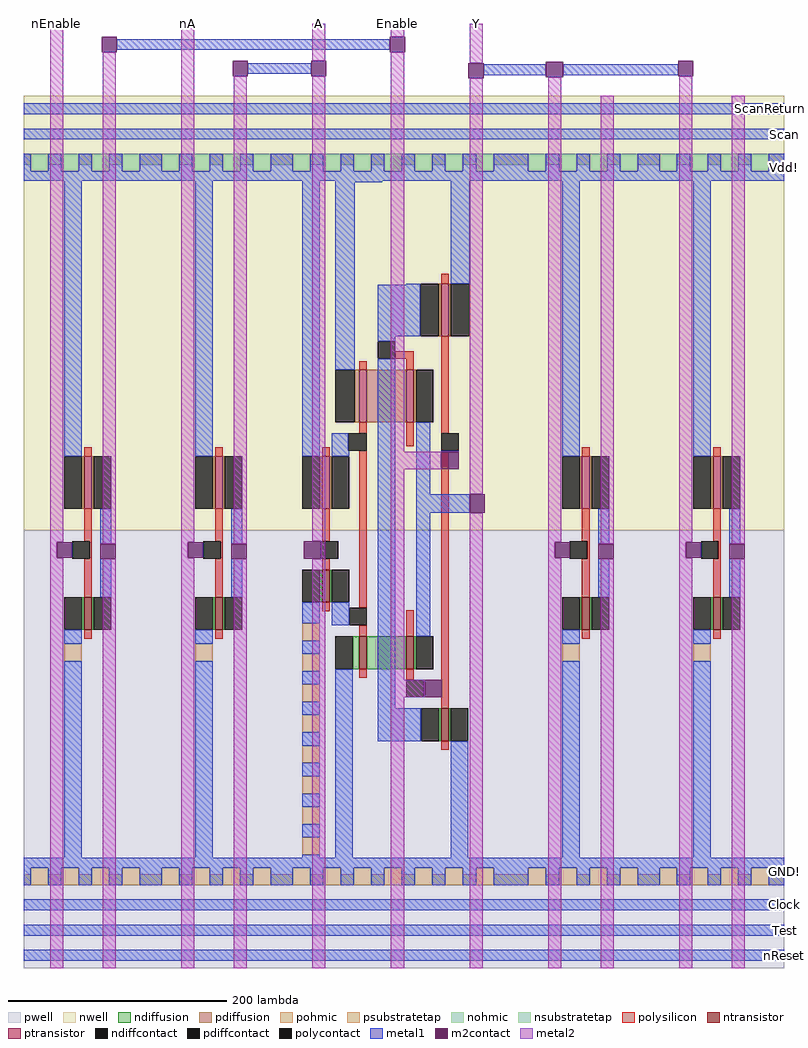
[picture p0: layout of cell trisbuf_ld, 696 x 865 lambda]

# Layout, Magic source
magic
tech c035u
<< nwell >>
rect 0 401 696 799
<< pwell >>
rect 0 0 696 401
<< polysilicon >>
rect 382 627 389 636
rect 340 558 357 565
rect 307 548 314 556
rect 350 548 357 558
rect 307 490 314 500
rect 55 469 62 477
rect 175 469 182 477
rect 273 469 280 477
rect 350 478 357 500
rect 382 490 389 579
rect 55 391 62 421
rect 175 391 182 421
rect 273 391 280 421
rect 60 375 62 391
rect 180 375 182 391
rect 55 340 62 375
rect 175 340 182 375
rect 273 365 280 375
rect 273 327 280 335
rect 307 330 314 474
rect 55 302 62 310
rect 175 302 182 310
rect 307 304 314 314
rect 350 304 357 328
rect 307 266 314 274
rect 350 264 357 274
rect 382 238 389 474
rect 511 469 518 477
rect 631 469 638 477
rect 511 391 518 421
rect 631 391 638 421
rect 516 375 518 391
rect 636 375 638 391
rect 511 340 518 375
rect 631 340 638 375
rect 511 302 518 310
rect 631 302 638 310
rect 382 200 389 208
<< ndiffusion >>
rect 53 310 55 340
rect 62 310 64 340
rect 173 310 175 340
rect 182 310 184 340
rect 271 335 273 365
rect 280 335 282 365
rect 301 274 307 304
rect 314 274 350 304
rect 357 274 359 304
rect 509 310 511 340
rect 518 310 520 340
rect 629 310 631 340
rect 638 310 640 340
rect 363 208 364 238
rect 380 208 382 238
rect 389 208 391 238
<< pdiffusion >>
rect 380 579 382 627
rect 389 579 391 627
rect 303 500 307 548
rect 314 500 350 548
rect 357 500 359 548
rect 53 421 55 469
rect 62 421 64 469
rect 173 421 175 469
rect 182 421 184 469
rect 271 421 273 469
rect 280 421 282 469
rect 509 421 511 469
rect 518 421 520 469
rect 629 421 631 469
rect 638 421 640 469
<< pohmic >>
rect 0 76 6 86
rect 22 76 34 86
rect 50 76 62 86
rect 78 76 90 86
rect 106 76 126 86
rect 142 76 154 86
rect 170 76 182 86
rect 198 76 210 86
rect 226 76 246 86
rect 262 76 274 86
rect 290 76 302 86
rect 318 76 330 86
rect 346 76 358 86
rect 374 76 386 86
rect 402 76 414 86
rect 430 76 462 86
rect 478 76 490 86
rect 506 76 518 86
rect 534 76 546 86
rect 562 76 582 86
rect 598 76 610 86
rect 626 76 638 86
rect 654 76 666 86
rect 682 76 696 86
<< nohmic >>
rect 0 736 6 746
rect 22 736 34 746
rect 50 736 62 746
rect 78 736 90 746
rect 106 736 126 746
rect 142 736 154 746
rect 170 736 182 746
rect 198 736 210 746
rect 226 736 246 746
rect 262 736 274 746
rect 290 736 302 746
rect 318 736 330 746
rect 346 736 358 746
rect 374 736 386 746
rect 402 736 414 746
rect 430 736 462 746
rect 478 736 490 746
rect 506 736 518 746
rect 534 736 546 746
rect 562 736 582 746
rect 598 736 610 746
rect 626 736 638 746
rect 654 736 666 746
rect 682 736 696 746
<< ntransistor >>
rect 55 310 62 340
rect 175 310 182 340
rect 273 335 280 365
rect 307 274 314 304
rect 350 274 357 304
rect 511 310 518 340
rect 631 310 638 340
rect 382 208 389 238
<< ptransistor >>
rect 382 579 389 627
rect 307 500 314 548
rect 350 500 357 548
rect 55 421 62 469
rect 175 421 182 469
rect 273 421 280 469
rect 511 421 518 469
rect 631 421 638 469
<< polycontact >>
rect 324 558 340 574
rect 297 474 314 490
rect 44 375 60 391
rect 164 375 180 391
rect 272 375 288 391
rect 298 314 314 330
rect 382 474 398 490
rect 350 248 366 264
rect 500 375 516 391
rect 620 375 636 391
<< ndiffcontact >>
rect 37 310 53 340
rect 64 310 80 340
rect 157 310 173 340
rect 184 310 200 340
rect 255 335 271 365
rect 282 335 298 365
rect 285 274 301 304
rect 359 274 375 304
rect 493 310 509 340
rect 520 310 536 340
rect 613 310 629 340
rect 640 310 656 340
rect 364 208 380 238
rect 391 208 407 238
<< pdiffcontact >>
rect 363 579 380 627
rect 391 579 408 627
rect 285 500 303 548
rect 359 500 375 548
rect 37 421 53 469
rect 64 421 80 469
rect 157 421 173 469
rect 184 421 200 469
rect 255 421 271 469
rect 282 421 298 469
rect 493 421 509 469
rect 520 421 536 469
rect 613 421 629 469
rect 640 421 656 469
<< psubstratetap >>
rect 255 300 271 316
rect 37 281 53 297
rect 157 281 173 297
rect 255 272 271 288
rect 255 244 271 260
rect 493 281 509 297
rect 613 281 629 297
rect 255 216 271 232
rect 255 188 271 204
rect 255 160 271 176
rect 255 132 271 148
rect 255 104 271 120
rect 6 76 22 92
rect 34 76 50 92
rect 62 76 78 92
rect 90 76 106 92
rect 126 76 142 92
rect 154 76 170 92
rect 182 76 198 92
rect 210 76 226 92
rect 246 76 262 92
rect 274 76 290 92
rect 302 76 318 92
rect 330 76 346 92
rect 358 76 374 92
rect 386 76 402 92
rect 414 76 430 92
rect 462 76 478 92
rect 490 76 506 92
rect 518 76 534 92
rect 546 76 562 92
rect 582 76 598 92
rect 610 76 626 92
rect 638 76 654 92
rect 666 76 682 92
<< nsubstratetap >>
rect 6 730 22 746
rect 34 730 50 746
rect 62 730 78 746
rect 90 730 106 746
rect 126 730 142 746
rect 154 730 170 746
rect 182 730 198 746
rect 210 730 226 746
rect 246 730 262 746
rect 274 730 290 746
rect 302 730 318 746
rect 330 730 346 746
rect 358 730 374 746
rect 386 730 402 746
rect 414 730 430 746
rect 462 730 478 746
rect 490 730 506 746
rect 518 730 534 746
rect 546 730 562 746
rect 582 730 598 746
rect 610 730 626 746
rect 638 730 654 746
rect 666 730 682 746
<< metal1 >>
rect 85 841 335 851
rect 205 819 263 829
rect 421 818 478 828
rect 494 818 599 828
rect 0 782 696 792
rect 0 759 696 769
rect 0 730 6 746
rect 22 730 34 746
rect 50 730 62 746
rect 78 730 90 746
rect 106 730 126 746
rect 142 730 154 746
rect 170 730 182 746
rect 198 730 210 746
rect 226 730 246 746
rect 262 730 274 746
rect 290 730 302 746
rect 318 730 330 746
rect 346 730 358 746
rect 374 730 386 746
rect 402 730 414 746
rect 430 730 462 746
rect 478 730 490 746
rect 506 730 518 746
rect 534 730 546 746
rect 562 730 582 746
rect 598 730 610 746
rect 626 730 638 746
rect 654 730 666 746
rect 682 730 696 746
rect 0 721 696 730
rect 37 469 53 721
rect 157 469 173 721
rect 255 469 271 721
rect 285 720 328 721
rect 285 548 303 720
rect 391 627 408 721
rect 350 626 363 627
rect 324 579 363 626
rect 324 574 340 579
rect 282 474 297 490
rect 282 469 298 474
rect 70 389 80 421
rect 190 389 200 421
rect 70 340 80 375
rect 190 340 200 375
rect 255 316 271 335
rect 37 297 53 310
rect 37 101 53 281
rect 157 297 173 310
rect 157 101 173 281
rect 282 314 298 335
rect 255 288 271 300
rect 255 260 271 272
rect 255 232 271 244
rect 255 204 271 216
rect 255 176 271 188
rect 255 148 271 160
rect 255 120 271 132
rect 255 101 271 104
rect 285 101 301 274
rect 324 238 340 558
rect 359 434 372 500
rect 382 473 398 474
rect 493 469 509 721
rect 613 469 629 721
rect 359 417 408 434
rect 359 304 372 417
rect 526 389 536 421
rect 646 389 656 421
rect 526 340 536 375
rect 646 340 656 375
rect 493 297 509 310
rect 366 248 367 264
rect 324 208 364 238
rect 391 101 407 208
rect 493 101 509 281
rect 613 297 629 310
rect 613 101 629 281
rect 0 92 696 101
rect 0 76 6 92
rect 22 76 34 92
rect 50 76 62 92
rect 78 76 90 92
rect 106 76 126 92
rect 142 76 154 92
rect 170 76 182 92
rect 198 76 210 92
rect 226 76 246 92
rect 262 76 274 92
rect 290 76 302 92
rect 318 76 330 92
rect 346 76 358 92
rect 374 76 386 92
rect 402 76 414 92
rect 430 76 462 92
rect 478 76 490 92
rect 506 76 518 92
rect 534 76 546 92
rect 562 76 582 92
rect 598 76 610 92
rect 626 76 638 92
rect 654 76 666 92
rect 682 76 696 92
rect 0 53 696 63
rect 0 30 696 40
rect 0 7 696 17
<< m2contact >>
rect 71 839 85 853
rect 335 839 349 853
rect 191 817 205 831
rect 263 817 277 831
rect 407 815 421 829
rect 478 816 494 830
rect 599 817 613 831
rect 30 376 44 390
rect 70 375 84 389
rect 150 376 164 390
rect 190 375 204 389
rect 256 375 272 391
rect 382 457 398 473
rect 408 417 422 434
rect 486 376 500 390
rect 526 375 540 389
rect 606 376 620 390
rect 646 375 660 389
rect 367 248 383 264
<< metal2 >>
rect 24 390 36 865
rect 24 376 30 390
rect 72 389 84 839
rect 24 0 36 376
rect 72 0 84 375
rect 144 390 156 865
rect 264 831 276 865
rect 336 853 348 865
rect 144 376 150 390
rect 192 389 204 817
rect 264 391 276 817
rect 144 0 156 376
rect 272 375 276 391
rect 192 0 204 375
rect 264 0 276 375
rect 336 473 348 839
rect 408 829 420 865
rect 336 457 382 473
rect 336 264 348 457
rect 408 434 420 815
rect 336 248 367 264
rect 336 0 348 248
rect 408 0 420 417
rect 480 390 492 816
rect 480 376 486 390
rect 528 389 540 799
rect 480 0 492 376
rect 528 0 540 375
rect 600 390 612 817
rect 600 376 606 390
rect 648 389 660 799
rect 600 0 612 376
rect 648 0 660 375
<< labels >>
rlabel metal1 696 721 696 746 7 Vdd!
rlabel metal1 696 759 696 769 7 Scan
rlabel metal1 696 782 696 792 6 ScanReturn
rlabel metal1 696 7 696 17 8 nReset
rlabel metal1 696 30 696 40 7 Test
rlabel metal1 696 53 696 63 7 Clock
rlabel metal1 696 76 696 101 7 GND!
rlabel metal2 24 865 36 865 5 nEnable
rlabel metal2 144 865 156 865 5 nA
rlabel metal2 408 865 420 865 5 Y
rlabel metal2 264 865 276 865 5 A
rlabel metal2 336 865 348 865 5 Enable
<< end >>
